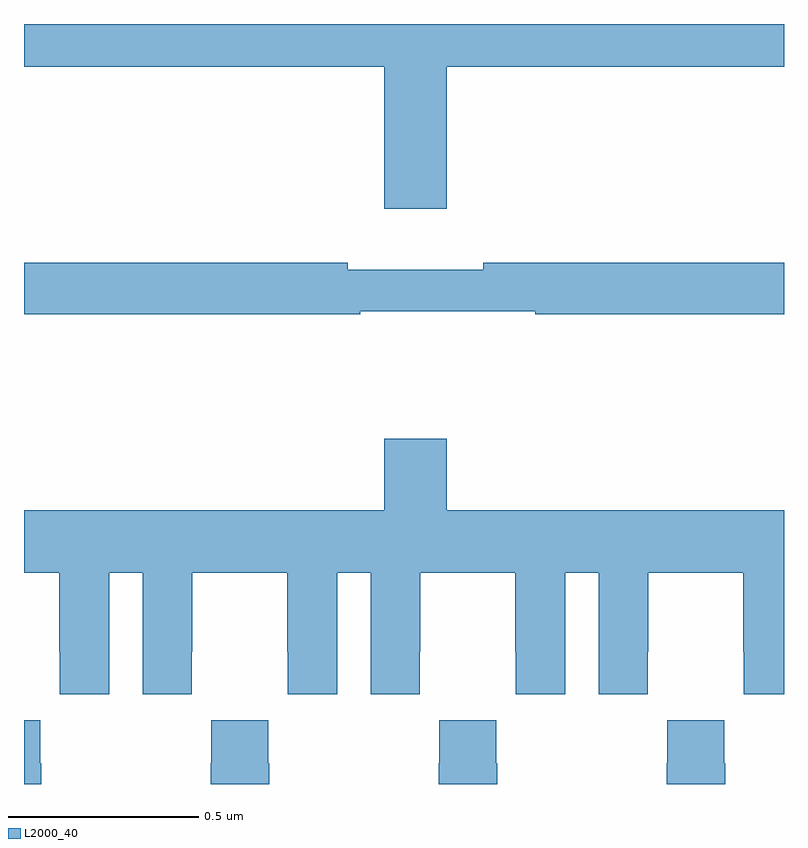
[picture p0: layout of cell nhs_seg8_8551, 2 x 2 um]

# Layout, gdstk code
import gdstk
lib = gdstk.Library(unit=1e-6, precision=1e-09)
def P(c, l, *ps):  # polygons
    for p in ps: c.add(gdstk.Polygon(p, *l))
L2000_40 = (2000, 40)

nhs_seg8_8551 = lib.new_cell('nhs_seg8_8551')
P(nhs_seg8_8551, L2000_40, [(225.112,1161.788),(226,1161.788),(226,1161.9),(224,1161.9),(224,1161.788),(224.948,1161.788),(224.948,1161.414),(225.112,1161.414)],
  [(224.885,1161.144),(225.345,1161.144),(225.345,1161.136),(226,1161.136),(226,1161.272),(225.208,1161.272),(225.208,1161.253),(224.852,1161.253),(224.852,1161.272),(224,1161.272),(224,1161.136),(224.885,1161.136)],
  [(224.948,1160.62),(224,1160.62),(224,1160.456),(224.093,1160.456),(224.093,1160.248),(224.094,1160.248),(224.094,1160.136),(224.224,1160.136),(224.224,1160.456),(224.312,1160.456),(224.312,1160.136),(224.442,1160.136),(224.442,1160.248),(224.443,1160.248),(224.443,1160.456),(224.693,1160.456),(224.693,1160.248),(224.694,1160.248),(224.694,1160.136),(224.824,1160.136),(224.824,1160.456),(224.912,1160.456),(224.912,1160.136),(225.042,1160.136),(225.042,1160.248),(225.043,1160.248),(225.043,1160.456),(225.293,1160.456),(225.293,1160.248),(225.294,1160.248),(225.294,1160.136),(225.424,1160.136),(225.424,1160.456),(225.512,1160.456),(225.512,1160.136),(225.642,1160.136),(225.642,1160.248),(225.643,1160.248),(225.643,1160.456),(225.893,1160.456),(225.893,1160.248),(225.894,1160.248),(225.894,1160.136),(226,1160.136),(226,1160.62),(225.112,1160.62),(225.112,1160.809),(224.948,1160.809)],
  [(225.846,1159.955),(225.843,1159.955),(225.843,1160.068),(225.693,1160.068),(225.693,1159.955),(225.691,1159.955),(225.691,1159.9),(225.846,1159.9)],
  [(225.246,1159.955),(225.243,1159.955),(225.243,1160.068),(225.093,1160.068),(225.093,1159.955),(225.091,1159.955),(225.091,1159.9),(225.246,1159.9)],
  [(224.646,1159.955),(224.643,1159.955),(224.643,1160.068),(224.493,1160.068),(224.493,1159.955),(224.491,1159.955),(224.491,1159.9),(224.646,1159.9)],
  [(224.046,1159.955),(224.043,1159.955),(224.043,1160.068),(224,1160.068),(224,1159.9),(224.046,1159.9)])

lib.write_gds('nhs_seg8_8551.gds')
